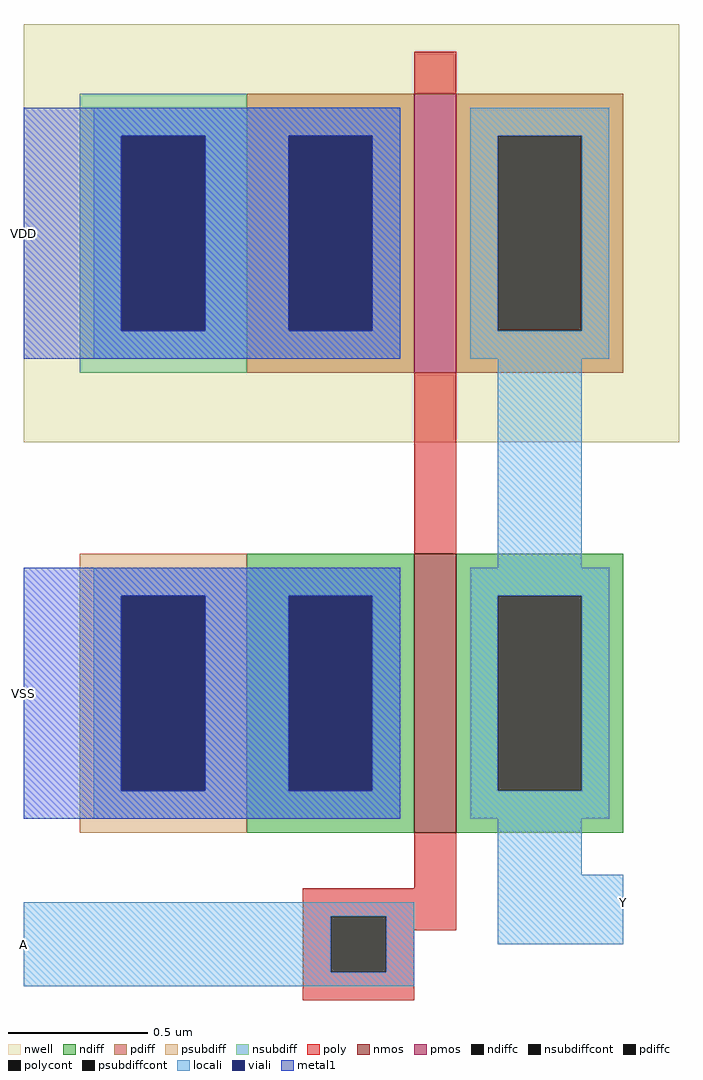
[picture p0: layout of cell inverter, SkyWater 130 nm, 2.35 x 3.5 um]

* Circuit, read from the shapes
.subckt inverter VDD VSS A Y
XM1 Y A VSS VSS sky130_fd_pr__nfet_01v8 w=1 l=0.15
XM2 Y A VDD VDD sky130_fd_pr__pfet_01v8 w=1 l=0.15
.ends

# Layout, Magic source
magic
tech sky130A
<< nwell >>
rect -145 90 90 240
<< nmos >>
rect -5 -50 10 50
<< pmos >>
rect -5 115 10 215
<< ndiff >>
rect -65 35 -5 50
rect -65 -35 -50 35
rect -20 -35 -5 35
rect -65 -50 -5 -35
rect 10 35 70 50
rect 10 -35 25 35
rect 55 -35 70 35
rect 10 -50 70 -35
<< pdiff >>
rect -65 200 -5 215
rect -65 130 -50 200
rect -20 130 -5 200
rect -65 115 -5 130
rect 10 200 70 215
rect 10 130 25 200
rect 55 130 70 200
rect 10 115 70 130
<< ndiffc >>
rect -50 -35 -20 35
rect 25 -35 55 35
<< pdiffc >>
rect -50 130 -20 200
rect 25 130 55 200
<< psubdiff >>
rect -125 35 -65 50
rect -125 -35 -110 35
rect -80 -35 -65 35
rect -125 -50 -65 -35
<< nsubdiff >>
rect -125 200 -65 215
rect -125 130 -110 200
rect -80 130 -65 200
rect -125 115 -65 130
<< psubdiffcont >>
rect -110 -35 -80 35
<< nsubdiffcont >>
rect -110 130 -80 200
<< poly >>
rect -5 215 10 230
rect -5 50 10 115
rect -5 -70 10 -50
rect -45 -80 10 -70
rect -45 -100 -35 -80
rect -15 -85 10 -80
rect -15 -100 -5 -85
rect -45 -110 -5 -100
<< polycont >>
rect -35 -100 -15 -80
<< locali >>
rect -120 200 -10 210
rect -120 130 -110 200
rect -80 130 -50 200
rect -20 130 -10 200
rect -120 120 -10 130
rect 15 200 65 210
rect 15 130 25 200
rect 55 130 65 200
rect 15 120 65 130
rect 25 45 55 120
rect -120 35 -10 45
rect -120 -35 -110 35
rect -80 -35 -50 35
rect -20 -35 -10 35
rect -120 -45 -10 -35
rect 15 35 65 45
rect 15 -35 25 35
rect 55 -35 65 35
rect 15 -45 65 -35
rect 25 -65 55 -45
rect -145 -80 -5 -75
rect -145 -100 -35 -80
rect -15 -100 -5 -80
rect 25 -90 70 -65
rect -145 -105 -5 -100
<< viali >>
rect -110 130 -80 200
rect -50 130 -20 200
rect -110 -35 -80 35
rect -50 -35 -20 35
<< metal1 >>
rect -145 200 -10 210
rect -145 130 -110 200
rect -80 130 -50 200
rect -20 130 -10 200
rect -145 120 -10 130
rect -145 35 -10 45
rect -145 -35 -110 35
rect -80 -35 -50 35
rect -20 -35 -10 35
rect -145 -45 -10 -35
<< labels >>
rlabel metal1 -145 165 -145 165 7 VDD
port 1 w
rlabel metal1 -145 0 -145 0 7 VSS
port 2 w
rlabel locali -145 -90 -145 -90 7 A
port 3 w
rlabel locali 70 -75 70 -75 3 Y
port 4 e
<< end >>
